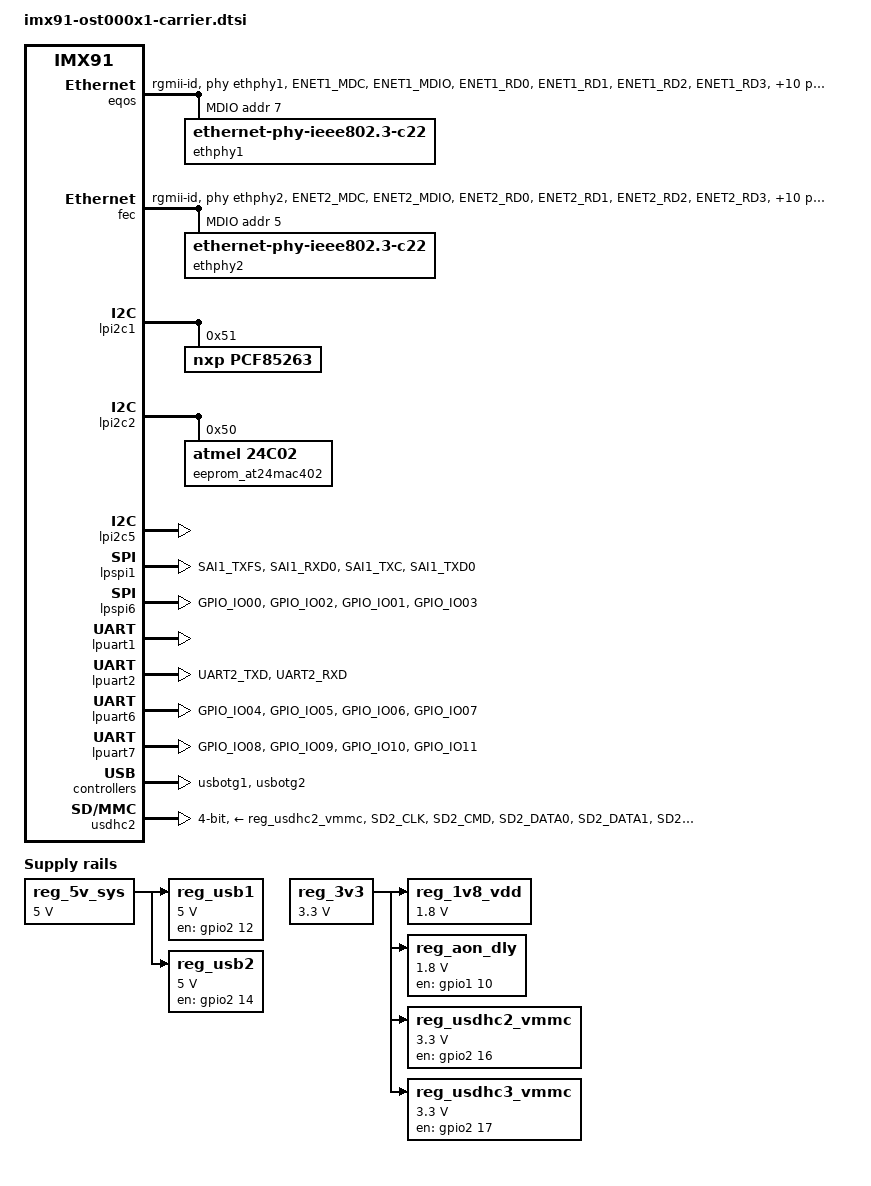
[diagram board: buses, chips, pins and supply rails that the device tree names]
// SPDX-License-Identifier: (GPL-2.0+ OR MIT)
/*
 * Copyright 2022 NXP
 */


#include <dt-bindings/leds/common.h>

/ {

	aliases {
		rtc0 = &pcf85263;
	};

	// REGULATORS
	reg_5v_sys: regulator-5V-sys {
		// U3 system voltage 5V TPS54361 @3.5A
		compatible = "regulator-fixed";
		regulator-name = "VSYS_5V";
		regulator-min-microvolt = <5000000>;
		regulator-max-microvolt = <5000000>;
	};

	reg_3v3: regulator-3V3 {
		// U7 regulator for 3V3 TPS54361 @3.5A
		compatible = "regulator-fixed";
		regulator-name = "REG_3V3";
		regulator-min-microvolt = <3300000>;
		regulator-max-microvolt = <3300000>;

	};

	reg_1v8_vdd: regulator-1V8 {
		// U1 regulator for 1V8 AP7361E @1A
		compatible = "regulator-fixed";
		regulator-name = "REG_1V8";
		regulator-min-microvolt = <1800000>;
		regulator-max-microvolt = <1800000>;
		vin-supply = <&reg_3v3>;
	};

	reg_aon_dly: regulator-aon-dly {
		// U6 regulator for 1V8 or 3V3 dependig on mountig
		compatible = "regulator-fixed";
		pinctrl-names = "default";
		pinctrl-0 = <&pinctrl_reg_aon_dly>;
		regulator-name = "REG_AON_DLY";
		regulator-min-microvolt = <1800000>;
		regulator-max-microvolt = <1800000>;
		vin-supply = <&reg_3v3>;
		gpio = <&gpio1 10 GPIO_ACTIVE_HIGH>;
		off-on-delay-us = <12000>;
		enable-active-high;
	};

	reg_usdhc2_vmmc: regulator-usdhc2  {
		// uSD2 pwr-enable
		compatible = "regulator-fixed";
		pinctrl-names = "default";
		pinctrl-0 = <&pinctrl_reg_usdhc2_vmmc>;
		regulator-name = "VSD2_3V3";
		regulator-min-microvolt = <3300000>;
		regulator-max-microvolt = <3300000>;
		vin-supply = <&reg_3v3>;
		gpio = <&gpio2 16 GPIO_ACTIVE_HIGH>;
		off-on-delay-us = <12000>;
		enable-active-high;		
	};

	reg_usdhc3_vmmc: regulator-usdhc3  {
		// uSD3 pwr-enable
		compatible = "regulator-fixed";
		pinctrl-names = "default";
		pinctrl-0 = <&pinctrl_reg_usdhc3_vmmc>;
		regulator-name = "VSD3_3V3";
		regulator-min-microvolt = <3300000>;
		regulator-max-microvolt = <3300000>;
		vin-supply = <&reg_3v3>;
		gpio = <&gpio2 17 GPIO_ACTIVE_HIGH>;
		off-on-delay-us = <12000>;
		enable-active-high;
	};

	reg_usb1: regulator-usb1 {
		// U23 regulator for USB1 AP22811AW5-7
		compatible = "regulator-fixed";
		pinctrl-names = "default";
		pinctrl-0 = <&pinctrl_reg_usb_vbus1>;
		regulator-name = "USB_VBUS1";
		regulator-min-microvolt = <5000000>;
		regulator-max-microvolt = <5000000>;
		vin-supply = <&reg_5v_sys>;
		gpio = <&gpio2 12 GPIO_ACTIVE_HIGH>;
		off-on-delay-us = <12000>;
		enable-active-high;
	};

	reg_usb2: regulator-usb2 {
		// U24 regulator for USB2 AP22811AW5-7
		compatible = "regulator-fixed";
		pinctrl-names = "default";
		pinctrl-0 = <&pinctrl_reg_usb_vbus2>;
		regulator-name = "USB_VBUS2";
		regulator-min-microvolt = <5000000>;
		regulator-max-microvolt = <5000000>;
		vin-supply = <&reg_5v_sys>;
		gpio = <&gpio2 14 GPIO_ACTIVE_HIGH>;
		off-on-delay-us = <12000>;
		enable-active-high;
	};

};

//=============================================================================
//=== EQOS
//=============================================================================
&eqos {
	pinctrl-names = "default";
	pinctrl-0 = <&pinctrl_eqos>;
	phy-mode = "rgmii-id";
	phy-handle = <&ethphy1>;
	status = "okay";

	mdio {
		compatible = "snps,dwmac-mdio";
		#address-cells = <1>;
		#size-cells = <0>;
		clock-frequency = <5000000>;

		ethphy1: ethernet-phy@7 {
			compatible = "ethernet-phy-ieee802.3-c22";
			reg = <7>;
			eee-broken-1000t;
		};
	};
};

//=============================================================================
//=== FEC
//=============================================================================
&fec {
	pinctrl-names = "default";
	pinctrl-0 = <&pinctrl_fec>;
	phy-mode = "rgmii-id";
	phy-handle = <&ethphy2>;
	fsl,magic-packet;
	status = "okay";

	mdio {
		#address-cells = <1>;
		#size-cells = <0>;
		clock-frequency = <5000000>;

		ethphy2: ethernet-phy@5 {
			compatible = "ethernet-phy-ieee802.3-c22";
			reg = <5>;
			eee-broken-1000t;
		};
	};
};

//=============================================================================
//=== CAN1
//=============================================================================
&flexcan1 {
	status = "disabled";
};

//=============================================================================
//=== I2C1
//=============================================================================
&lpi2c1 {
	status = "okay";
	
	pcf85263: rtc@51 {
		compatible = "nxp,pcf85263";
		reg = <0x51>;
	};	
};	
	
//=============================================================================
//=== I2C2
//=============================================================================
&lpi2c2 {
	status = "okay";
	
	eeprom_at24mac402: eeprom@50 {
		compatible = "atmel,24c02";
		reg = <0x50>;
		pagesize = <16>;
	};
	
};

//=============================================================================
//=== I2C5
//=============================================================================
&lpi2c5 {
	status = "okay";
};	

//=============================================================================
//=== SPI1
//=============================================================================
&lpspi1 {
	#address-cells = <1>;
	#size-cells = <0>;
	fsl,spi-num-chipselects = <1>;
	pinctrl-names = "default";
	pinctrl-0 = <&pinctrl_lpspi1>;
	cs-gpios = <&gpio1 11 GPIO_ACTIVE_LOW>;
	status = "okay";
};

//=============================================================================
//=== SPI6
//=============================================================================
&lpspi6 {
	#address-cells = <1>;
	#size-cells = <0>;
	fsl,spi-num-chipselects = <1>;
	pinctrl-names = "default";
	pinctrl-0 = <&pinctrl_lpspi6>;
	cs-gpios = <&gpio2 00 GPIO_ACTIVE_LOW>;
	status = "okay";
};

//=============================================================================
//=== UART1 console
//=============================================================================
&lpuart1 { /* console */
	status = "okay";
};

//=============================================================================
//=== UART2
//=============================================================================
&lpuart2 {
	pinctrl-names = "default";
	pinctrl-0 = <&pinctrl_uart2>;
	status = "okay";
};

//=============================================================================
//=== UART6 RS232
//=============================================================================
&lpuart6 {
	pinctrl-names = "default";
	pinctrl-0 = <&pinctrl_uart6>;
	uart-has-rtscts;
	status = "okay";
};

//=============================================================================
//=== UART7 RS232
//=============================================================================
&lpuart7 {
	pinctrl-names = "default";
	pinctrl-0 = <&pinctrl_uart7>;
	uart-has-rtscts;
	status = "okay";
};

//=============================================================================
//=== USB1
//=============================================================================
&usbotg1 {
	status = "okay";
};

//=============================================================================
//=== USB2
//=============================================================================
&usbotg2 {
	status = "okay";
};

//=============================================================================
//=== USDHC2 usd
//=============================================================================
&usdhc2 {
	pinctrl-names = "default";
	pinctrl-0 = <&pinctrl_usdhc2>, <&pinctrl_usdhc2_gpio>;
	cd-gpios = <&gpio3 00 GPIO_ACTIVE_LOW>;
	vmmc-supply = <&reg_usdhc2_vmmc>;
	bus-width = <4>;
	no-sdio;
	no-mmc;
	status = "okay";
};

//=============================================================================
//=== USDHC3 usd
//=============================================================================
&usdhc3 {
	pinctrl-names = "default";
	pinctrl-0 = <&pinctrl_usdhc3>, <&pinctrl_usdhc3_gpio>;
	cd-gpios = <&gpio2 20 GPIO_ACTIVE_LOW>;
	vmmc-supply = <&reg_usdhc3_vmmc>;
	bus-width = <4>;
	no-sdio;
	no-mmc;
	status = "disabled";
};



//=============================================================================
//#############################################################################
//=== PINMUX
//#############################################################################
//=============================================================================
&iomuxc {

	pinctrl_reg_aon_dly: regaondlygrp {
		fsl,pins = <
			MX91_PAD_PDM_BIT_STREAM1__GPIO1_IO10						0x51e
		>;
	};

	pinctrl_reg_usdhc2_vmmc: regusdhc2vmmcgrp {
		fsl,pins = <
			MX91_PAD_GPIO_IO16__GPIO2_IO16								0x31e
		>;
	};

	pinctrl_reg_usdhc3_vmmc: regusdhc3vmmcgrp {
		fsl,pins = <
			MX91_PAD_GPIO_IO17__GPIO2_IO17								0x31e
		>;
	};

	pinctrl_lpspi1: lpspi1grp {
		fsl,pins = <
			MX91_PAD_SAI1_TXFS__GPIO1_IO11								0x000009fe
			MX91_PAD_SAI1_RXD0__LPSPI1_SOUT            					0x000005fe
			MX91_PAD_SAI1_TXC__LPSPI1_SIN              					0x000005fe
			MX91_PAD_SAI1_TXD0__LPSPI1_SCK             					0x000005fe
		>;
	};

	pinctrl_lpspi6: lpspi6grp {
		fsl,pins = <
			MX91_PAD_GPIO_IO00__GPIO2_IO0								0x000009fe
			MX91_PAD_GPIO_IO02__LPSPI6_SOUT            					0x000005fe
			MX91_PAD_GPIO_IO01__LPSPI6_SIN              				0x000005fe
			MX91_PAD_GPIO_IO03__LPSPI6_SCK             					0x000005fe
		>;
	};

	pinctrl_uart2: uart2grp {
		fsl,pins = <
			MX91_PAD_UART2_TXD__LPUART2_TX								0x31e
			MX91_PAD_UART2_RXD__LPUART2_RX								0x31e
		>;
	};

	pinctrl_uart6: uart6grp {
		fsl,pins = <
		    MX91_PAD_GPIO_IO04__LPUART6_TX								0x51e
            MX91_PAD_GPIO_IO05__LPUART6_RX								0x51e
            MX91_PAD_GPIO_IO06__LPUART6_CTS_B							0x51e
            MX91_PAD_GPIO_IO07__LPUART6_RTS_B							0x51e
		>;
	};

	pinctrl_uart7: uart7grp {
		fsl,pins = <
		    MX91_PAD_GPIO_IO08__LPUART7_TX								0x51e
            MX91_PAD_GPIO_IO09__LPUART7_RX								0x51e
            MX91_PAD_GPIO_IO10__LPUART7_CTS_B							0x51e
            MX91_PAD_GPIO_IO11__LPUART7_RTS_B							0x51e
		>;
	};

	pinctrl_reg_usb_vbus1: regusbvbus1grp {
		fsl,pins = <
			MX91_PAD_GPIO_IO12__GPIO2_IO12								0x31e
		>;
	};

	pinctrl_reg_usb_vbus2: regusbvbus2grp {
		fsl,pins = <
			MX91_PAD_GPIO_IO14__GPIO2_IO14								0x31e
		>;
	};

	pinctrl_eqos: eqosgrp {
		fsl,pins = <
			MX91_PAD_ENET1_MDC__ENET1_MDC								0x57e
			MX91_PAD_ENET1_MDIO__ENET_QOS_MDIO							0x57e
			MX91_PAD_ENET1_RD0__ENET_QOS_RGMII_RD0						0x57e
			MX91_PAD_ENET1_RD1__ENET_QOS_RGMII_RD1						0x57e
			MX91_PAD_ENET1_RD2__ENET_QOS_RGMII_RD2						0x57e
			MX91_PAD_ENET1_RD3__ENET_QOS_RGMII_RD3						0x57e
			MX91_PAD_ENET1_RXC__ENET_QOS_RGMII_RXC						0x5fe
			MX91_PAD_ENET1_RX_CTL__ENET_QOS_RGMII_RX_CTL				0x57e
			MX91_PAD_ENET1_TD0__ENET_QOS_RGMII_TD0						0x57e
			MX91_PAD_ENET1_TD1__ENET1_RGMII_TD1							0x57e
			MX91_PAD_ENET1_TD2__ENET_QOS_RGMII_TD2						0x57e
			MX91_PAD_ENET1_TD3__ENET_QOS_RGMII_TD3						0x57e
			MX91_PAD_ENET1_TXC__CCM_ENET_QOS_CLOCK_GENERATE_TX_CLK		0x5fe
			MX91_PAD_ENET1_TX_CTL__ENET_QOS_RGMII_TX_CTL				0x57e
			MX91_PAD_CCM_CLKO1__GPIO3_IO26								0x91e
			MX91_PAD_CCM_CLKO3__GPIO4_IO28								0x31e
		>;
	};

	pinctrl_fec: fecgrp {
		fsl,pins = <
			MX91_PAD_ENET2_MDC__ENET2_MDC								0x57e
			MX91_PAD_ENET2_MDIO__ENET2_MDIO								0x57e
			MX91_PAD_ENET2_RD0__ENET2_RGMII_RD0							0x57e
			MX91_PAD_ENET2_RD1__ENET2_RGMII_RD1							0x57e
			MX91_PAD_ENET2_RD2__ENET2_RGMII_RD2							0x57e
			MX91_PAD_ENET2_RD3__ENET2_RGMII_RD3							0x57e
			MX91_PAD_ENET2_RXC__ENET2_RGMII_RXC							0x5fe
			MX91_PAD_ENET2_RX_CTL__ENET2_RGMII_RX_CTL					0x57e
			MX91_PAD_ENET2_TD0__ENET2_RGMII_TD0							0x57e
			MX91_PAD_ENET2_TD1__ENET2_RGMII_TD1							0x57e
			MX91_PAD_ENET2_TD2__ENET2_RGMII_TD2							0x57e
			MX91_PAD_ENET2_TD3__ENET2_RGMII_TD3							0x57e
			MX91_PAD_ENET2_TXC__ENET2_RGMII_TXC							0x5fe
			MX91_PAD_ENET2_TX_CTL__ENET2_RGMII_TX_CTL					0x57e
			MX91_PAD_CCM_CLKO2__GPIO3_IO27								0x91e
			MX91_PAD_CCM_CLKO4__GPIO4_IO29								0x31e
		>;
	};

	pinctrl_usdhc2_gpio: usdhc2gpiogrp {
		fsl,pins = <
			MX91_PAD_SD2_CD_B__GPIO3_IO0								0x31e
		>;
	};

	pinctrl_usdhc3_gpio: usdhc3gpiogrp {
		fsl,pins = <
			MX91_PAD_GPIO_IO20__GPIO2_IO20								0x31e
		>;
	};
	
	/* need to config the SION for data and cmd pad, refer to ERR052021 */
	pinctrl_usdhc2: usdhc2grp {
		fsl,pins = <			
			MX91_PAD_SD2_CLK__USDHC2_CLK								0x1506
			MX91_PAD_SD2_CMD__USDHC2_CMD								0x40001306
			MX91_PAD_SD2_DATA0__USDHC2_DATA0							0x40001306
			MX91_PAD_SD2_DATA1__USDHC2_DATA1							0x40001306
			MX91_PAD_SD2_DATA2__USDHC2_DATA2							0x40001306
			MX91_PAD_SD2_DATA3__USDHC2_DATA3							0x40001306
			MX91_PAD_SD2_VSELECT__USDHC2_VSELECT						0x51e
		>;
	};

	/* need to config the SION for data and cmd pad, refer to ERR052021 */
	pinctrl_usdhc2_100mhz: usdhc2-100mhzgrp {
		fsl,pins = <
			MX91_PAD_SD2_CLK__USDHC2_CLK								0x158e
			MX91_PAD_SD2_CMD__USDHC2_CMD								0x4000138e
			MX91_PAD_SD2_DATA0__USDHC2_DATA0							0x4000138e
			MX91_PAD_SD2_DATA1__USDHC2_DATA1							0x4000138e
			MX91_PAD_SD2_DATA2__USDHC2_DATA2							0x4000138e
			MX91_PAD_SD2_DATA3__USDHC2_DATA3							0x4000138e
			MX91_PAD_SD2_VSELECT__USDHC2_VSELECT						0x51e
		>;
	};

	/* need to config the SION for data and cmd pad, refer to ERR052021 */
	pinctrl_usdhc2_200mhz: usdhc2-200mhzgrp {
		fsl,pins = <
			MX91_PAD_SD2_CLK__USDHC2_CLK								0x15fe
			MX91_PAD_SD2_CMD__USDHC2_CMD								0x400013fe
			MX91_PAD_SD2_DATA0__USDHC2_DATA0							0x400013fe
			MX91_PAD_SD2_DATA1__USDHC2_DATA1							0x400013fe
			MX91_PAD_SD2_DATA2__USDHC2_DATA2							0x400013fe
			MX91_PAD_SD2_DATA3__USDHC2_DATA3							0x400013fe
			MX91_PAD_SD2_VSELECT__USDHC2_VSELECT						0x51e
		>;
	};

	/* need to config the SION for data and cmd pad, refer to ERR052021 */
	pinctrl_usdhc3: usdhc3grp {
		fsl,pins = <
			MX91_PAD_SD3_CLK__USDHC3_CLK								0x1506
			MX91_PAD_SD3_CMD__USDHC3_CMD								0x40001306
			MX91_PAD_SD3_DATA0__USDHC3_DATA0							0x40001306
			MX91_PAD_SD3_DATA1__USDHC3_DATA1							0x40001306
			MX91_PAD_SD3_DATA2__USDHC3_DATA2							0x40001306
			MX91_PAD_SD3_DATA3__USDHC3_DATA3							0x40001306
		>;
	};
	
	/* need to config the SION for data and cmd pad, refer to ERR052021 */
	pinctrl_usdhc3_100mhz: usdhc3-100mhzgrp {
		fsl,pins = <
			MX91_PAD_SD3_CLK__USDHC3_CLK								0x158e
			MX91_PAD_SD3_CMD__USDHC3_CMD								0x4000138e
			MX91_PAD_SD3_DATA0__USDHC3_DATA0							0x4000138e
			MX91_PAD_SD3_DATA1__USDHC3_DATA1							0x4000138e
			MX91_PAD_SD3_DATA2__USDHC3_DATA2							0x4000138e
			MX91_PAD_SD3_DATA3__USDHC3_DATA3							0x4000138e
		>;
	};

	/* need to config the SION for data and cmd pad, refer to ERR052021 */
	pinctrl_usdhc3_200mhz: usdhc3-200mhzgrp {
		fsl,pins = <
			MX91_PAD_SD3_CLK__USDHC3_CLK								0x15fe
			MX91_PAD_SD3_CMD__USDHC3_CMD								0x400013fe
			MX91_PAD_SD3_DATA0__USDHC3_DATA0							0x400013fe
			MX91_PAD_SD3_DATA1__USDHC3_DATA1							0x400013fe
			MX91_PAD_SD3_DATA2__USDHC3_DATA2							0x400013fe
			MX91_PAD_SD3_DATA3__USDHC3_DATA3							0x400013fe
		>;
	};
};
